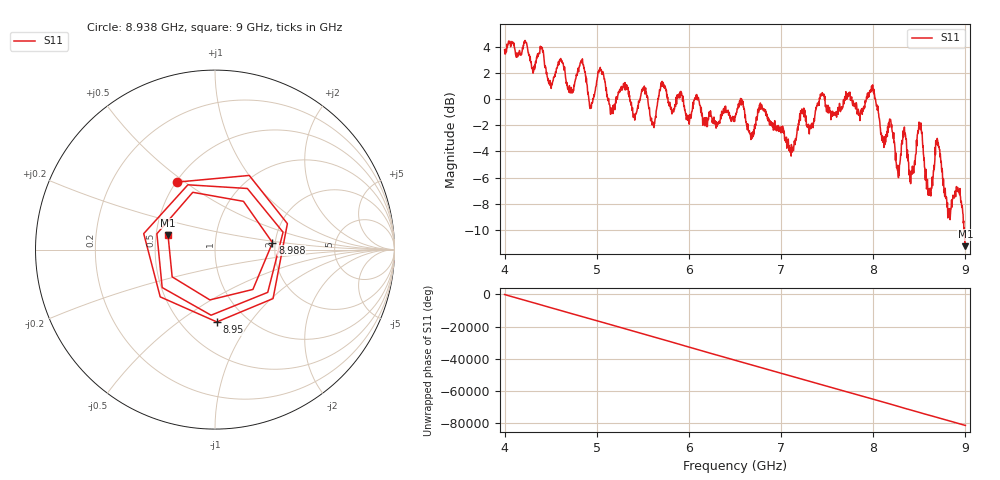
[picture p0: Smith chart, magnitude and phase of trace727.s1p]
! Created with skrf 1.8.0 (http://scikit-rf.org).
# Hz S RI R 50.0
!freq ReS11 ImS11
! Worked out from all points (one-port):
!   1601 points, 4 GHz to 9 GHz, reference 50 ohm
!   lowest |S11| = -11.2 dB at 9 GHz (marker M1), VSWR 1.76, Z = 28.9 + j5.07 ohm
!   |S11| at or under -10 dB: 8.983587 GHz to 8.985554 GHz (1.967 MHz wide, 0.0219 % of centre); 8.989159 GHz to end of sweep
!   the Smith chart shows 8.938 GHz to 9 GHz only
!   S11 on the Smith chart (normalised r, x): 8.938 GHz: 0.51, +0.47; 8.95 GHz: 0.73, -0.71; 8.988 GHz: 1.93, +0.17; 9 GHz: 0.58, +0.10
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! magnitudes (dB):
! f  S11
! 4 GHz  3.8
! 4.625 GHz  2.8
! 4.725 GHz  0.9
! 4.844 GHz  3.1
! 4.938 GHz  -0.7
! 5.038 GHz  2.4
! 5.162 GHz  -1.1
! 5.25 GHz  0.7
! 5.516 GHz  1.0
! 5.609 GHz  -1.8
! 5.706 GHz  1.0
! 5.875 GHz  0.1
! 6.5 GHz  -1.3
! 7.125 GHz  -3.8
! 7.228 GHz  -0.8
! 7.75 GHz  0.3
! 7.988 GHz  0.7
! 8.262 GHz  -5.4
! 8.375 GHz  -4.7
! 8.419 GHz  -5.5
! 8.506 GHz  -2.0
! 8.603 GHz  -7.1
! 8.697 GHz  -3.1
! 8.812 GHz  -8.4
! 8.938 GHz  -7.3
! 8.95 GHz  -7.9
! 8.988 GHz  -9.8
! 9 GHz  -11.2
